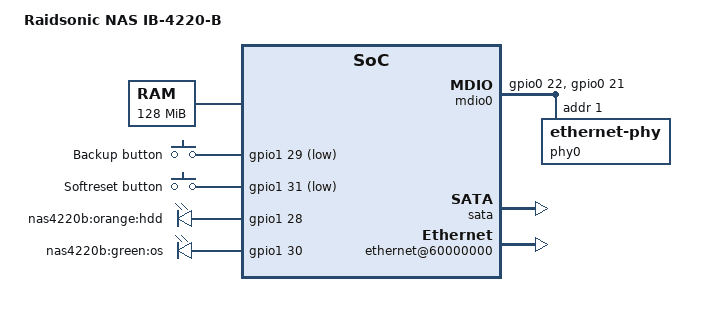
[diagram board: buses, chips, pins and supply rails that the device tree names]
// SPDX-License-Identifier: GPL-2.0
/*
 * Device Tree file for the Gemini-based Raidsonic NAS IB-4220-B
 */

/dts-v1/;

#include "gemini.dtsi"
#include <dt-bindings/input/input.h>

/ {
	model = "Raidsonic NAS IB-4220-B";
	compatible = "raidsonic,ib-4220-b", "cortina,gemini";
	#address-cells = <1>;
	#size-cells = <1>;

	memory { /* 128 MB */
		device_type = "memory";
		reg = <0x00000000 0x8000000>;
	};

	chosen {
		bootargs = "console=ttyS0,19200n8";
		stdout-path = &uart0;
	};

	gpio_keys {
		compatible = "gpio-keys";
		#address-cells = <1>;
		#size-cells = <0>;

		button@29 {
			debounce-interval = <50>;
			wakeup-source;
			linux,code = <KEY_SETUP>;
			label = "Backup button";
			/* Conflict with TVC */
			gpios = <&gpio1 29 GPIO_ACTIVE_LOW>;
		};
		button@31 {
			debounce-interval = <50>;
			wakeup-source;
			linux,code = <KEY_RESTART>;
			label = "Softreset button";
			/* Conflict with TVC */
			gpios = <&gpio1 31 GPIO_ACTIVE_LOW>;
		};
	};

	leds {
		compatible = "gpio-leds";
		led@28 {
			label = "nas4220b:orange:hdd";
			/* Conflict with TVC */
			gpios = <&gpio1 28 GPIO_ACTIVE_HIGH>;
			default-state = "on";
		};
		led@30 {
			label = "nas4220b:green:os";
			/* Conflict with TVC */
			gpios = <&gpio1 30 GPIO_ACTIVE_HIGH>;
			default-state = "on";
			linux,default-trigger = "heartbeat";
		};
	};

	mdio0: ethernet-phy {
		compatible = "virtual,mdio-gpio";
		gpios = <&gpio0 22 GPIO_ACTIVE_HIGH>, /* MDC */
			<&gpio0 21 GPIO_ACTIVE_HIGH>; /* MDIO */
		#address-cells = <1>;
		#size-cells = <0>;

		phy0: ethernet-phy@1 {
			reg = <1>;
			device_type = "ethernet-phy";
		};
	};

	soc {
		flash@30000000 {
			status = "okay";
			/* 16MB of flash */
			reg = <0x30000000 0x01000000>;

			partition@0 {
				label = "RedBoot";
				reg = <0x00000000 0x00020000>;
				read-only;
			};
			partition@20000 {
				label = "Kernel";
				reg = <0x00020000 0x00300000>;
			};
			partition@320000 {
				label = "Ramdisk";
				reg = <0x00320000 0x00600000>;
			};
			partition@920000 {
				label = "Application";
				reg = <0x00920000 0x00600000>;
			};
			partition@f20000 {
				label = "VCTL";
				reg = <0x00f20000 0x00020000>;
				read-only;
			};
			partition@f40000 {
				label = "CurConf";
				reg = <0x00f40000 0x000a0000>;
				read-only;
			};
			partition@fe0000 {
				label = "FIS directory";
				reg = <0x00fe0000 0x00020000>;
				read-only;
			};
		};

		syscon: syscon@40000000 {
			pinctrl {
				/*
				 * gpio1dgrp cover line 28-31 otherwise used
				 * by TVC.
				 */
				gpio1_default_pins: pinctrl-gpio1 {
					mux {
						function = "gpio1";
						groups = "gpio1dgrp";
					};
				};
				pinctrl-gmii {
					mux {
						function = "gmii";
						groups = "gmii_gmac0_grp";
					};
					/* Settings come from OpenWRT */
					conf0 {
						pins = "R8 GMAC0 RXDV", "U11 GMAC1 RXDV";
						skew-delay = <0>;
					};
					conf1 {
						pins = "T8 GMAC0 RXC", "T11 GMAC1 RXC";
						skew-delay = <15>;
					};
					conf2 {
						pins = "P8 GMAC0 TXEN", "V11 GMAC1 TXEN";
						skew-delay = <7>;
					};
					conf3 {
						pins = "V7 GMAC0 TXC";
						skew-delay = <11>;
					};
					conf4 {
						pins = "P10 GMAC1 TXC";
						skew-delay = <10>;
					};
					conf5 {
						/* The data lines all have default skew */
						pins = "U8 GMAC0 RXD0", "V8 GMAC0 RXD1",
						       "P9 GMAC0 RXD2", "R9 GMAC0 RXD3",
						       "U7 GMAC0 TXD0", "T7 GMAC0 TXD1",
						       "R7 GMAC0 TXD2", "P7 GMAC0 TXD3",
						       "R11 GMAC1 RXD0", "P11 GMAC1 RXD1",
						       "V12 GMAC1 RXD2", "U12 GMAC1 RXD3",
						       "R10 GMAC1 TXD0", "T10 GMAC1 TXD1",
						       "U10 GMAC1 TXD2", "V10 GMAC1 TXD3";
						skew-delay = <7>;
					};
					/* Set up drive strength on GMAC0 to 16 mA */
					conf6 {
						groups = "gmii_gmac0_grp";
						drive-strength = <16>;
					};
				};
			};
		};

		sata: sata@46000000 {
			cortina,gemini-ata-muxmode = <0>;
			cortina,gemini-enable-sata-bridge;
			status = "okay";
		};

		gpio1: gpio@4e000000 {
			pinctrl-names = "default";
			pinctrl-0 = <&gpio1_default_pins>;
		};

		ethernet@60000000 {
			status = "okay";

			ethernet-port@0 {
				phy-mode = "rgmii";
				phy-handle = <&phy0>;
			};
			ethernet-port@1 {
				/* Not used in this platform */
			};
		};

		ata@63000000 {
			status = "okay";
		};
	};
};
